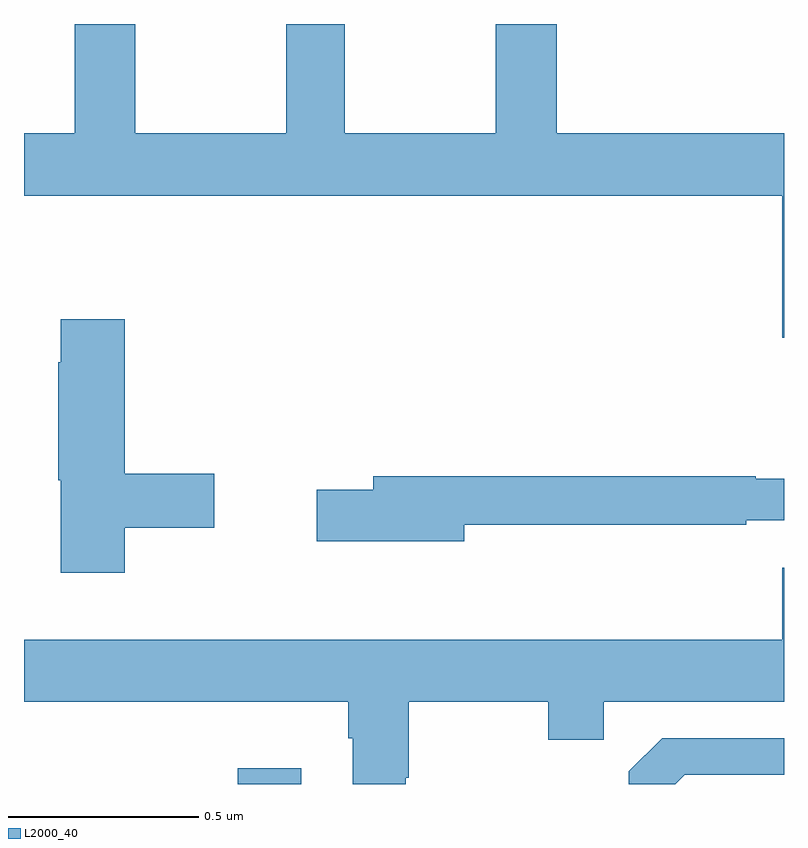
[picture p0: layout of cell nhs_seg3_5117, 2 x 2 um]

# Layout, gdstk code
import gdstk
lib = gdstk.Library(unit=1e-6, precision=1e-09)
def R(c, l, rs):  # rectangles x0, y0, x1, y1
    for r in rs: c.add(gdstk.rectangle(r[:2], r[2:], *l))
def P(c, l, *ps):  # polygons
    for p in ps: c.add(gdstk.Polygon(p, *l))
L2000_40 = (2000, 40)

nhs_seg3_5117 = lib.new_cell('nhs_seg3_5117')
R(nhs_seg3_5117, L2000_40, [(175.562,667.4,175.729,667.441)])
P(nhs_seg3_5117, L2000_40, [(177,669.112),(176.402,669.112),(176.402,669.4),(176.242,669.4),(176.242,669.112),(175.844,669.112),(175.844,669.4),(175.69,669.4),(175.69,669.112),(175.293,669.112),(175.293,669.4),(175.133,669.4),(175.133,669.112),(175,669.112),(175,668.948),(176.996,668.948),(176.996,668.574),(177,668.574)],
  [(175.265,668.074),(175.501,668.074),(175.501,668.216),(175.265,668.216),(175.265,668.623),(175.097,668.623),(175.097,668.51),(175.09,668.51),(175.09,668.199),(175.097,668.199),(175.097,667.956),(175.265,667.956)],
  [(176.158,668.082),(176.9,668.082),(176.9,668.094),(177,668.094),(177,668.203),(176.926,668.203),(176.926,668.21),(175.919,668.21),(175.919,668.174),(175.77,668.174),(175.77,668.039),(176.158,668.039)],
  [(175,667.616),(175.853,667.616),(175.853,667.52),(175.865,667.52),(175.865,667.4),(176.005,667.4),(176.005,667.417),(176.013,667.417),(176.013,667.616),(176.38,667.616),(176.38,667.517),(176.526,667.517),(176.526,667.616),(177,667.616),(177,667.969),(176.996,667.969),(176.996,667.78),(175,667.78)],
  [(176.739,667.425),(177,667.425),(177,667.521),(176.679,667.521),(176.592,667.434),(176.592,667.4),(176.714,667.4)])

lib.write_gds('nhs_seg3_5117.gds')
